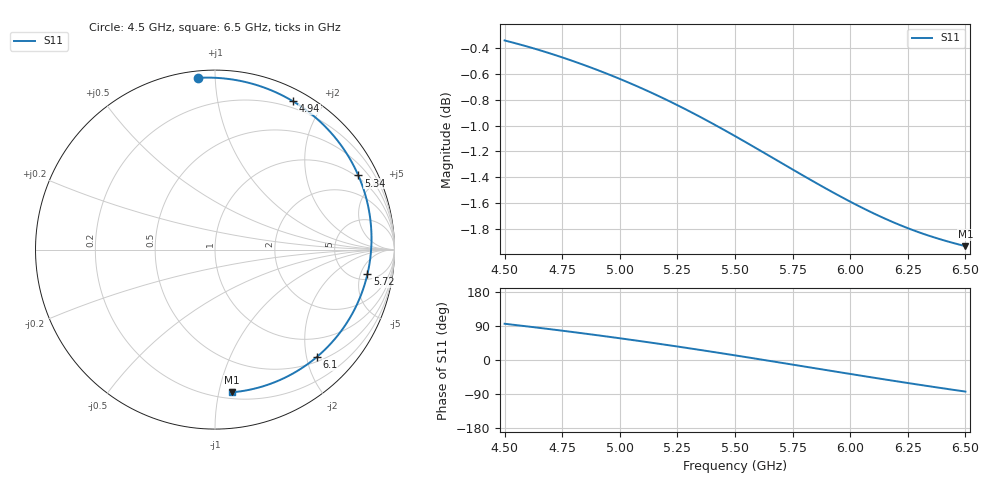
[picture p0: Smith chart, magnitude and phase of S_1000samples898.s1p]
! TOUCHSTONE file generated by CST MICROWAVE STUDIO
! Date and time: Sat Oct 29 17:54:09 2022
! Project name: L.cst
! Parameters = {Di=1.27; Epsilon_r=1.56; InnerDiameter=1.27; Length=2; Lf=10; Lg=60; OuterConductorThickness=0.2921; OuterDiameter=3.6; Wf=3; Wp=41.2; de=1.5; df=6.8; g=0.8; gx=2.87734; gy=4.22993; h=2.34; hf=1.524; px=9.63841; py=10.6844; w=9.7; wx=6.76108; wy=6.45444}
! Header version: 2018
! Port assignment regex: !\s*Touchstone port\s*([0-9]+)\s*=\s*(CST MWS port|CST DS port)\s*([0-9]+|Zmin|Zmax)\s*\(\"(.*)\"\)(\s*mode\s*([0-9]+))?.*
! Touchstone port assignment:
! Touchstone port 1 = CST MWS port 1 ("")
# GHz S DB R 50
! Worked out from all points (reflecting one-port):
!   101 points, 4.5 GHz to 6.5 GHz, reference 50 ohm
!   lowest |S11| = -1.9 dB at 6.5 GHz (marker M1), VSWR 9.03, Z = 12.3 - j54.7 ohm
!   phase of S11 starts at 96 deg and turns -179 deg over the sweep
!   S11 on the Smith chart (normalised r, x): 4.5 GHz: 0.04, +0.91; 4.94 GHz: 0.13, +1.65; 5.34 GHz: 0.91, +3.91; 5.72 GHz: 6.24, -6.60; 6.1 GHz: 0.59, -2.20; 6.5 GHz: 0.25, -1.09
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4.5  -0.34 95.6
4.58  -0.38 89.9
4.64  -0.41 85.6
4.76  -0.48 76.6
4.86  -0.54 68.7
4.94  -0.60 62.3
5  -0.64 57.3
5.12  -0.73 47.1
5.2  -0.80 40.1
5.26  -0.85 34.7
5.34  -0.92 27.3
5.42  -1.00 19.9
5.5  -1.08 12.2
5.6  -1.18 2.6
5.66  -1.25 -3.3
5.72  -1.31 -9.2
5.76  -1.35 -13.1
5.82  -1.41 -19.1
5.88  -1.47 -25.0
5.94  -1.53 -30.9
6  -1.59 -36.8
6.1  -1.68 -46.5
6.18  -1.74 -54.1
6.26  -1.80 -61.6
6.32  -1.84 -67.2
6.38  -1.87 -72.6
6.44  -1.90 -78.0
6.5  -1.93 -83.3
